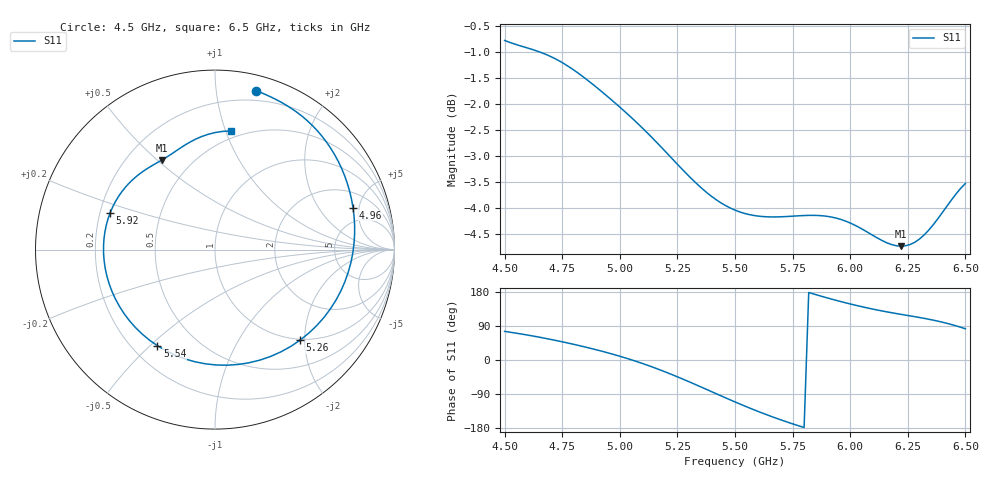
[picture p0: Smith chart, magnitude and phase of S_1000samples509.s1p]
! TOUCHSTONE file generated by CST MICROWAVE STUDIO
! Date and time: Fri Oct 28 10:11:46 2022
! Project name: L.cst
! Parameters = {Di=1.27; Epsilon_r=1.56; InnerDiameter=1.27; Length=2; Lf=10; Lg=60; OuterConductorThickness=0.2921; OuterDiameter=3.6; Wf=3; Wp=41.2; de=1.5; df=6.8; g=0.8; gx=4.04378; gy=1.46744; h=2.34; hf=1.524; px=12.1351; py=11.7876; w=9.7; wx=8.09131; wy=10.3202}
! Header version: 2018
! Port assignment regex: !\s*Touchstone port\s*([0-9]+)\s*=\s*(CST MWS port|CST DS port)\s*([0-9]+|Zmin|Zmax)\s*\(\"(.*)\"\)(\s*mode\s*([0-9]+))?.*
! Touchstone port assignment:
! Touchstone port 1 = CST MWS port 1 ("")
# GHz S DB R 50
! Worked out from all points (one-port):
!   101 points, 4.5 GHz to 6.5 GHz, reference 50 ohm
!   lowest |S11| = -4.7 dB at 6.22 GHz (marker M1), VSWR 3.77, Z = 17.2 + j26 ohm
!   |S11| at or under -10 dB: nowhere
!   S11 on the Smith chart (normalised r, x): 4.5 GHz: 0.12, +1.28; 4.96 GHz: 3.28, +4.33; 5.26 GHz: 0.98, -1.89; 5.54 GHz: 0.30, -0.53; 5.92 GHz: 0.24, +0.16; 6.5 GHz: 0.44, +1.04
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4.5  -0.77 75.5
4.64  -0.97 61.4
4.76  -1.22 46.7
4.86  -1.53 32.7
4.96  -1.90 16.9
5  -2.05 9.9
5.08  -2.38 -5.4
5.14  -2.64 -18.2
5.2  -2.92 -32.1
5.26  -3.20 -46.9
5.32  -3.47 -62.5
5.38  -3.70 -78.6
5.44  -3.89 -94.8
5.5  -4.03 -110.6
5.54  -4.09 -120.9
5.6  -4.15 -135.6
5.64  -4.16 -145.0
5.7  -4.16 -158.2
5.76  -4.15 -170.4
5.84  -4.13 174.4
5.92  -4.17 160.6
6  -4.28 147.9
6.1  -4.52 134.1
6.22  -4.72 120.5
6.26  -4.69 116.4
6.34  -4.42 107.7
6.4  -4.08 99.8
6.5  -3.52 82.5
